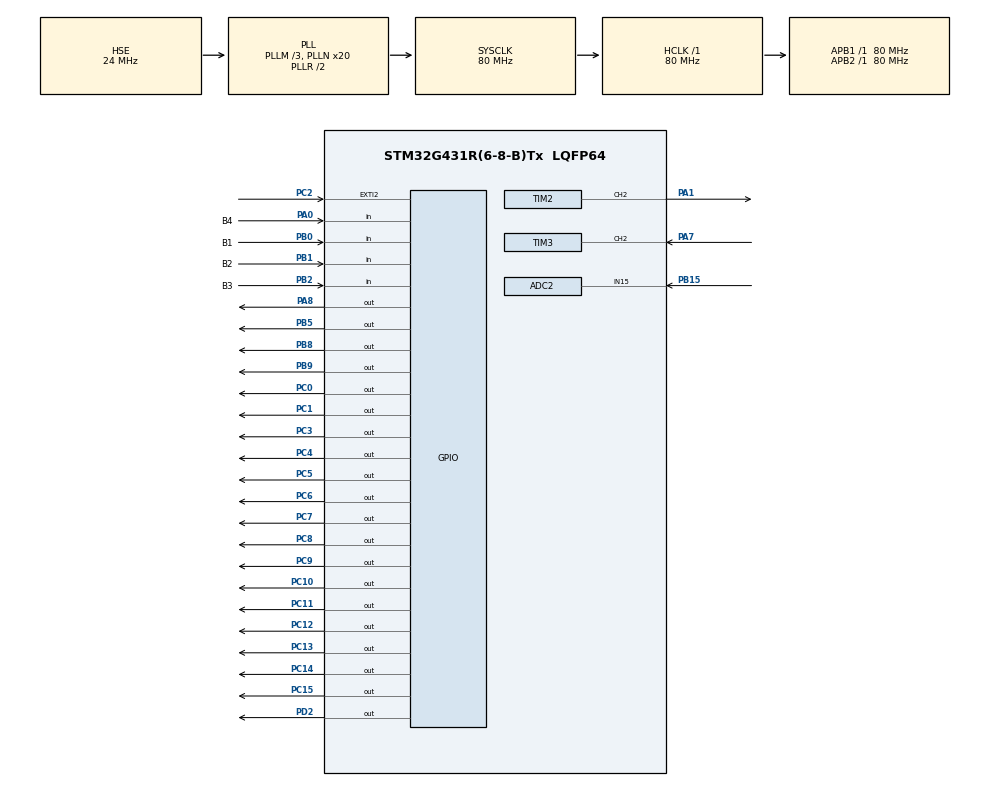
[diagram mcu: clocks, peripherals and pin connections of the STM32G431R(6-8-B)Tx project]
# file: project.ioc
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ADC2.Channel-0\#ChannelRegularConversion=ADC_CHANNEL_15
ADC2.NbrOfConversionFlag=1
ADC2.OffsetNumber-0\#ChannelRegularConversion=ADC_OFFSET_NONE
ADC2.Rank-0\#ChannelRegularConversion=1
ADC2.SamplingTime-0\#ChannelRegularConversion=ADC_SAMPLETIME_2CYCLES_5
Mcu.Family=STM32G4
Mcu.Name=STM32G431R(6-8-B)Tx
Mcu.Package=LQFP64
NVIC.PriorityGroup=NVIC_PRIORITYGROUP_4
NVIC.TIM1_UP_TIM16_IRQn=true\:0\:0\:false\:false\:true\:true\:true\:true
PA0.GPIO_Label=B4
PA0.Signal=GPIO_Input
PA1.Signal=S_TIM2_CH2
PA13.Mode=Serial_Wire
PA13.Signal=SYS_JTMS-SWDIO
PA14.Mode=Serial_Wire
PA14.Signal=SYS_JTCK-SWCLK
PA7.Signal=S_TIM3_CH2
PA8.Signal=GPIO_Output
PB0.GPIO_Label=B1
PB0.Signal=GPIO_Input
PB1.GPIO_Label=B2
PB1.Signal=GPIO_Input
PB15.Mode=IN15-Single-Ended
PB15.Signal=ADC2_IN15
PB2.GPIO_Label=B3
PB2.Signal=GPIO_Input
PB5.Signal=GPIO_Output
PB8-BOOT0.Signal=GPIO_Output
PB9.Signal=GPIO_Output
PC0.Signal=GPIO_Output
PC1.Signal=GPIO_Output
PC10.GPIO_PuPd=GPIO_PULLUP
PC10.Signal=GPIO_Output
PC11.GPIO_PuPd=GPIO_PULLUP
PC11.Signal=GPIO_Output
PC12.GPIO_PuPd=GPIO_PULLUP
PC12.Signal=GPIO_Output
PC13.GPIO_PuPd=GPIO_PULLUP
PC13.Signal=GPIO_Output
PC14-OSC32_IN.GPIO_PuPd=GPIO_PULLUP
PC14-OSC32_IN.Signal=GPIO_Output
PC15-OSC32_OUT.GPIO_PuPd=GPIO_PULLUP
PC15-OSC32_OUT.Signal=GPIO_Output
PC2.Signal=GPXTI2
PC3.Signal=GPIO_Output
PC4.Signal=GPIO_Output
PC5.Signal=GPIO_Output
PC6.Signal=GPIO_Output
PC7.Signal=GPIO_Output
PC8.GPIO_PuPd=GPIO_PULLUP
PC8.Signal=GPIO_Output
PC9.GPIO_PuPd=GPIO_PULLUP
PC9.Signal=GPIO_Output
PD2.GPIO_PuPd=GPIO_PULLDOWN
PD2.Signal=GPIO_Output
PF0-OSC_IN.Mode=HSE-External-Oscillator
PF0-OSC_IN.Signal=RCC_OSC_IN
PF1-OSC_OUT.Mode=HSE-External-Oscillator
PF1-OSC_OUT.Signal=RCC_OSC_OUT
ProjectManager.HeapSize=0x200
ProjectManager.StackSize=0x400
ProjectManager.TargetToolchain=MDK-ARM V5.32
RCC.ADC12Freq_Value=80000000
RCC.AHBFreq_Value=80000000
RCC.APB1Freq_Value=80000000
RCC.APB1TimFreq_Value=80000000
RCC.APB2Freq_Value=80000000
RCC.APB2TimFreq_Value=80000000
RCC.CortexFreq_Value=80000000
RCC.EXTERNAL_CLOCK_VALUE=12288000
RCC.HCLKFreq_Value=80000000
RCC.HSE_VALUE=24000000
RCC.HSI48_VALUE=48000000
RCC.HSI_VALUE=16000000
RCC.LSE_VALUE=32768
RCC.PLLM=RCC_PLLM_DIV3
RCC.PLLN=20
RCC.PLLSourceVirtual=RCC_PLLSOURCE_HSE
RCC.SYSCLKFreq_VALUE=80000000
RCC.SYSCLKSource=RCC_SYSCLKSOURCE_PLLCLK
RCC.USBFreq_Value=80000000
RCC.VCOOutputFreq_Value=160000000
SH.S_TIM2_CH2.0=TIM2_CH2,PWM Generation2 CH2
SH.S_TIM3_CH2.0=TIM3_CH2,TriggerSource_TI2FP2
SH.S_TIM3_CH2.1=TIM3_CH2,Input_Capture2_from_TI2
TIM16.AutoReloadPreload=TIM_AUTORELOAD_PRELOAD_ENABLE
TIM16.PeriodNoDither=100-1
TIM16.Prescaler=800-1
TIM2.AutoReloadPreload=TIM_AUTORELOAD_PRELOAD_ENABLE
TIM2.Channel-PWM\ Generation2\ CH2=TIM_CHANNEL_2
TIM2.PeriodNoDither=100-1
TIM2.Prescaler=800-1
TIM3.AutoReloadPreload=TIM_AUTORELOAD_PRELOAD_ENABLE
TIM3.Channel-Input_Capture2_from_TI2=TIM_CHANNEL_2
TIM3.Prescaler=80-1
VP_SYS_VS_DBSignals.Mode=DisableDeadBatterySignals
VP_TIM16_VS_ClockSourceINT.Mode=Enable_Timer
VP_TIM2_VS_ClockSourceINT.Mode=Internal
VP_TIM3_VS_ClockSourceINT.Mode=Internal
VP_TIM3_VS_ControllerModeReset.Mode=Reset Mode
board=custom

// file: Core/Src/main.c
/* USER CODE BEGIN Header */
/**
  ******************************************************************************
  * @file           : main.c
  * @brief          : Main program body
  ******************************************************************************
  * @attention
  *
  * Copyright (c) 2024 STMicroelectronics.
  * All rights reserved.
  *
  * This software is licensed under terms that can be found in the LICENSE file
  * in the root directory of this software component.
  * If no LICENSE file comes with this software, it is provided AS-IS.
  *
  ******************************************************************************
  */
/* USER CODE END Header */
#include "main.h"
#include "adc.h"
#include "tim.h"
#include "gpio.h"

/* USER CODE BEGIN PM */
int B1=0,B2=0,B3=0,B4=0;
int b1=0,b2=0,b3=0,b4=0;
u8 B2_5s_Con=0;
int B2_5s=0;
u8 B4_2s_Con=0;
int B4_2s=0;
u16 led_state=0xffff;
u8 LD2_0_1s;
/* USER CODE END PM */

/* USER CODE BEGIN PV */
u8 LCD_mod=0;
int    M=0;		//PWM输出模式
int    P=0;		//实时占空比
double V=0;		//实时速度
int	 R=1,r=1;
int	 K=1,k=1;
int	 N=0;		//PWM切换次数
double MH=0;	//高频最大速度
double ML=0;	//低频最大速度

u8 LD2_MODE=0;
u8 B2_Set_Index=0;
u8 B4_P_Lock=0;
double V_R37=0;
double PA7_Frq=0;

int T2_PSC=400-1;
int half_s;

double V_old=0;
int timer_2s;
/* USER CODE END PV */

void SystemClock_Config(void);
/* USER CODE BEGIN PFP */
void LED_Write(int led,int mode)
{
	u16 temp=GPIOC->ODR;
	HAL_GPIO_WritePin(GPIOD,GPIO_PIN_2,GPIO_PIN_SET);
	GPIOC->ODR=led_state;
	HAL_GPIO_WritePin(GPIOC,GPIO_PIN_8<<(led-1),mode^=1);
	led_state=GPIOC->ODR;
	HAL_GPIO_WritePin(GPIOD,GPIO_PIN_2,GPIO_PIN_RESET);
	GPIOC->ODR=temp;
}
void HAL_TIM_PeriodElapsedCallback(TIM_HandleTypeDef *htim)
{
	if(htim->Instance == TIM16)
	{
		if(++timer_2s==2000)
		{
			timer_2s=0;
			V_old=V;
		}
		if(B2_5s_Con==1)
		{
			if(++half_s==5000/200)
			{
				half_s=0;
				if(T2_PSC!=400-1&&M==0) T2_PSC+=200/200;
				if(T2_PSC!=200-1&&M==1) T2_PSC-=200/200;
				TIM2->PSC=T2_PSC;
			}
			if(++LD2_0_1s==100)
			{
				LD2_0_1s=0;
				LD2_MODE^=1;
			}
			if(++B2_5s==5000)
			{
				B2_5s=0;
				B2_5s_Con=0;
				LD2_MODE=0;
				LD2_0_1s=0;
			}
			LED_Write(2,LD2_MODE);
		}
		if(B4_2s_Con==1)
		{
			if(++B4_2s==2000)
			{
				B4_2s=0;
				B4_2s_Con=0;
				B4_P_Lock^=1;
			}
		}
	}
}

/* USER CODE END PFP */

/* USER CODE BEGIN 0 */
void LCD_Proc(u8 LCD_mod)
{
	char text[20];
			LCD_SetTextColor(Yellow);
			sprintf(text,"V:%.1f old:%.1f  ",V,V_old);
			LCD_DisplayStringLine(Line0, (u8*)text);
			LCD_SetTextColor(White);
	switch(LCD_mod)
	{
		case 0:
			sprintf(text,"        DATA      ");
			LCD_DisplayStringLine(Line1, (u8*)text);
			if(M==0) sprintf(text,"     M=L          ");
			if(M==1) sprintf(text,"     M=H          ");
			LCD_DisplayStringLine(Line3, (u8*)text);
			sprintf(text,"     P=%d%%       ",P);
			LCD_DisplayStringLine(Line4, (u8*)text);
			sprintf(text,"     V=%.1f       ",V);
			LCD_DisplayStringLine(Line5, (u8*)text);
		break;
		case 1:
			if(r<1) 	r=10;
			if(r>10) r=1;
			if(k<1) 	k=10;
			if(k>10) k=1;
			sprintf(text,"        PARA      ");
			LCD_DisplayStringLine(Line1, (u8*)text);
			sprintf(text,"     R=%d          ",r);
			LCD_DisplayStringLine(Line3, (u8*)text);
			sprintf(text,"     K=%d          ",k);
			LCD_DisplayStringLine(Line4, (u8*)text);
		break;
		case 2:
			sprintf(text,"        RECD      ");
			LCD_DisplayStringLine(Line1, (u8*)text);
			sprintf(text,"     N=%d          ",N);
			LCD_DisplayStringLine(Line3, (u8*)text);
			sprintf(text,"     MH=%.1f       ",MH);
			LCD_DisplayStringLine(Line4, (u8*)text);
			sprintf(text,"     ML=%.1f       ",ML);
			LCD_DisplayStringLine(Line5, (u8*)text);
		break;
	}

}
void KEY_Proc(void)
{
	B1=HAL_GPIO_ReadPin(B1_GPIO_Port,B1_Pin);
	B2=HAL_GPIO_ReadPin(B2_GPIO_Port,B2_Pin);
	B3=HAL_GPIO_ReadPin(B3_GPIO_Port,B3_Pin);
	B4=HAL_GPIO_ReadPin(B4_GPIO_Port,B4_Pin);
	if(B1==0&&b1==1)
	{
		b1=0;
		LCD_mod++;
		if(LCD_mod>2) LCD_mod=0;
		if(LCD_mod==1) B2_Set_Index=0;
		if(LCD_mod==2)
		{
			R=r;
			K=k;
		}
		LCD_Clear(Black);
		timer_2s=1;
	}
	if(B1==1&&b1==0)
	{
		b1=1;
	}

	if(B2==0&&b2==1)
	{
		b2=0;
		if(LCD_mod==0&&B2_5s_Con==0)
		{
			B2_5s_Con=1;
			B2_5s=0;
			M^=1;
			N++;
		}
		if(LCD_mod==1) B2_Set_Index^=1;
	}
	if(B2==1&&b2==0)
	{
		b2=1;
	}

	if(B3==0&&b3==1)
	{
		b3=0;
		if(LCD_mod==1)
		{
			if(B2_Set_Index==0) r++;
			if(B2_Set_Index==1) k++;
		}
	}
	if(B3==1&&b3==0)
	{
		b3=1;
	}

	if(B4==0&&b4==1)
	{
		b4=0;
		if(LCD_mod==0)
		{
			B4_2s_Con=1;
			B4_2s=0;
		}
		if(LCD_mod==1)
		{
			if(B2_Set_Index==0) r--;
			if(B2_Set_Index==1) k--;
		}
	}
	if(B4==1&&b4==0)
	{
		b4=1;
		if(LCD_mod==0)
		{
			B4_2s_Con=0;
			B4_2s=0;
		}
	}

}
void LED_Proc(void)
{
	if(LCD_mod==0) LED_Write(1,1);
	else LED_Write(1,0);
	if(B4_P_Lock) LED_Write(3,1);
	else LED_Write(3,0);
}
void R37_Read(void)
{
	HAL_ADC_Start(&hadc2);
	V_R37=HAL_ADC_GetValue(&hadc2)/4095.0*3.3;
	HAL_ADC_Stop(&hadc2);
	if(B4_P_Lock==0)
	{
		P=37.5*V_R37-27.5;
		if(V_R37<=1.0) P=10;
		if(V_R37>=3.0) P=85;
	}
}
void Freq_Proc(void)
{
	//PA7_Frq=HAL_TIM_ReadCapturedValue(&htim3,TIM_CHANNEL_2);
	PA7_Frq=TIM3->CCR2;
	PA7_Frq=1000000.0/(PA7_Frq+1.0);
	V=(PA7_Frq*2.0*3.14*R)/(100.0*K);
	if(V_old==V)
	{
		if(M==0&&ML<V&&PA7_Frq==2000) ML=V;
		if(M==1&&MH<V&&PA7_Frq==4000) MH=V;
	}
}
/* USER CODE END 0 */

int main(void)
{

  /* MCU Configuration--------------------------------------------------------*/

  /* Reset of all peripherals, Initializes the Flash interface and the Systick. */
  HAL_Init();

  /* Configure the system clock */
  SystemClock_Config();

  /* Initialize all configured peripherals */
  MX_GPIO_Init();
  MX_TIM16_Init();
  MX_TIM2_Init();
  MX_ADC2_Init();
  MX_TIM3_Init();
  /* USER CODE BEGIN 2 */
	LCD_Init();
	LCD_SetBackColor(Black);
	LCD_SetTextColor(White);
	LCD_Clear(Black);
  /* USER CODE END 2 */

  /* Infinite loop */
  /* USER CODE BEGIN WHILE */
  HAL_TIM_Base_Start_IT(&htim16);
  HAL_TIM_PWM_Start(&htim2,TIM_CHANNEL_2);
  TIM2->PSC=T2_PSC;
  //__HAL_TIM_SetCompare(&htim2,TIM_CHANNEL_2,50);
  TIM2->CCR2=50;
  HAL_TIM_IC_Start(&htim3,TIM_CHANNEL_2);
  GPIOC->ODR=0xffff;
  while (1)
  {
    /* USER CODE END WHILE */

    /* USER CODE BEGIN 3 */
	  Freq_Proc();
	  R37_Read();
	  KEY_Proc();
	  LCD_Proc(LCD_mod);
	  LED_Proc();
  }
  /* USER CODE END 3 */
}

void SystemClock_Config(void)
{
  RCC_OscInitTypeDef RCC_OscInitStruct = {0};
  RCC_ClkInitTypeDef RCC_ClkInitStruct = {0};

  /** Configure the main internal regulator output voltage
  */
  HAL_PWREx_ControlVoltageScaling(PWR_REGULATOR_VOLTAGE_SCALE1);

  /** Initializes the RCC Oscillators according to the specified parameters
  * in the RCC_OscInitTypeDef structure.
  */
  RCC_OscInitStruct.OscillatorType = RCC_OSCILLATORTYPE_HSE;
  RCC_OscInitStruct.HSEState = RCC_HSE_ON;
  RCC_OscInitStruct.PLL.PLLState = RCC_PLL_ON;
  RCC_OscInitStruct.PLL.PLLSource = RCC_PLLSOURCE_HSE;
  RCC_OscInitStruct.PLL.PLLM = RCC_PLLM_DIV3;
  RCC_OscInitStruct.PLL.PLLN = 20;
  RCC_OscInitStruct.PLL.PLLP = RCC_PLLP_DIV2;
  RCC_OscInitStruct.PLL.PLLQ = RCC_PLLQ_DIV2;
  RCC_OscInitStruct.PLL.PLLR = RCC_PLLR_DIV2;
  if (HAL_RCC_OscConfig(&RCC_OscInitStruct) != HAL_OK)
  {
    Error_Handler();
  }

  /** Initializes the CPU, AHB and APB buses clocks
  */
  RCC_ClkInitStruct.ClockType = RCC_CLOCKTYPE_HCLK|RCC_CLOCKTYPE_SYSCLK
                              |RCC_CLOCKTYPE_PCLK1|RCC_CLOCKTYPE_PCLK2;
  RCC_ClkInitStruct.SYSCLKSource = RCC_SYSCLKSOURCE_PLLCLK;
  RCC_ClkInitStruct.AHBCLKDivider = RCC_SYSCLK_DIV1;
  RCC_ClkInitStruct.APB1CLKDivider = RCC_HCLK_DIV1;
  RCC_ClkInitStruct.APB2CLKDivider = RCC_HCLK_DIV1;

  if (HAL_RCC_ClockConfig(&RCC_ClkInitStruct, FLASH_LATENCY_2) != HAL_OK)
  {
    Error_Handler();
  }
}

void Error_Handler(void)
{
  __disable_irq();
  while (1)
  {
  }
}
